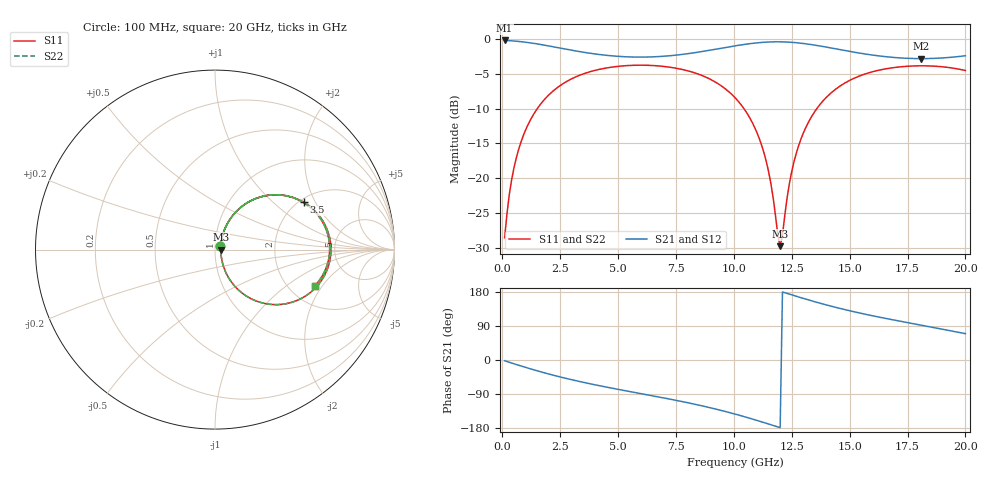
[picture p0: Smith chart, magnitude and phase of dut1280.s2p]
! Touchstone file exported from HFSS 2026.1.0
!  File:  C:/ffzhzh/LocalFiles/Ansys_Project_Files/temp_train_TSV_RDL_1280_1783330470_38704.aedt
!  Generated:  05:48:54 PM Jul  6, 2026
!  Design:  TSV_RDL
!  Project:  temp_train_TSV_RDL_1280_1783330470_38704
! Variables:
!  h_bsmrdl = 4.42um
!  h_ox = 20um
!  h_rdl = 5um
!  h_sub = 86.9um
!  h_tmrdl = 3um
!  h_tsv = 86.9um
!  h_via = 3um
!  l_bsmrdl = 692.74um
!  l_sub = 4905.78um
!  l_tmrdl = 584.03um
!  m_sub = 200um
!  pitch = 56.82um
!  r_tsv = 10.37um
!  s_tmrdl = 10um
!  w_bsmrdl = 12um
!  w_sub = 500um
!  w_tmrdl = 18.48um
!  x_tsv_center1 = 593.27um
!  x_tsv_center2 = 1298.01um
!  x_tsv_center3 = 1900.52um
!  x_tsv_center4 = 2605.26um
!  x_tsv_center5 = 3207.77um
!  x_tsv_center6 = 3912.51um
# GHz S MA R 50.000000
! Terminal data exported
! Port[1] = TM_RDL1_1_T1
! Port[2] = TM_RDL5_1_T1
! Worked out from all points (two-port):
!   200 points, 100 MHz to 20 GHz, reference 50 ohm
!   highest |S21| = -0.26 dB at 100 MHz (marker M1); lowest = -2.9 dB at 18.1 GHz (marker M2)
!   |S21| within 3 dB of the highest: start of sweep to end of sweep
!   lowest |S11| = -29.7 dB at 12 GHz (marker M3), VSWR 1.07, Z = 53.4 + j0.0244 ohm
!   |S11| at or under -10 dB: start of sweep to 1.514 GHz; 10.43 GHz to 13.59 GHz (3.154 GHz wide, 26.3 % of centre)
!   |S22| runs from -29.8 to -3.8 dB; largest |S21 - S12| = 1.7e-14
!   S11 on the Smith chart (normalised r, x): 100 MHz: 1.06, +0.05; 3.5 GHz: 2.10, +1.62; 20 GHz: 2.74, -1.70
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0.1  0.03756 36.9  0.9705 -2.0  0.9705 -2.0  0.03756 36.9
! Gamma 0 0 0 0
! Port Impedance 50 0 50 0
0.3  0.07601 60.4  0.9672 -6.0  0.9672 -6.0  0.07601 60.4
0.5  0.1183 64.6  0.962 -9.9  0.962 -9.9  0.1183 64.6
1.1  0.2403 60.9  0.9383 -21.2  0.9383 -21.2  0.2403 60.9
2.1  0.4089 47.1  0.8809 -38.5  0.8809 -38.5  0.4089 47.1
3.5  0.5596 28.2  0.7996 -59.0  0.7996 -59.0  0.5596 28.2
5.1  0.636 9.5  0.7452 -78.6  0.7452 -78.6  0.636 9.5
6.8  0.6369 -9.1  0.745 -98.1  0.745 -98.1  0.6369 -9.1
8.7  0.5384 -31.7  0.8122 -122.0  0.8122 -122.0  0.5384 -31.7
10.1  0.3707 -50.9  0.8905 -143.5  0.8905 -143.5  0.3707 -51.0
10.8  0.2504 -60.4  0.9251 -155.8  0.9251 -155.8  0.2504 -60.5
11.3  0.1525 -64.6  0.9419 -165.1  0.9419 -165.1  0.1525 -64.7
11.6  0.0919 -61.7  0.9475 -170.8  0.9475 -170.8  0.09179 -61.9
12  0.03277 0.4  0.9489 -178.5  0.9489 -178.5  0.03236 0.3
12.4  0.09208 61.6  0.9434 173.8  0.9434 173.8  0.0919 61.9
12.6  0.1321 64.4  0.9382 170.0  0.9382 170.0  0.132 64.6
13  0.2109 62.6  0.9234 162.6  0.9234 162.6  0.2108 62.7
13.4  0.2844 58.0  0.904 155.4  0.904 155.4  0.2843 58.1
14.8  0.482 38.9  0.8221 132.9  0.8221 132.9  0.4819 39.0
16.7  0.6138 16.0  0.7387 108.0  0.7387 108.0  0.6137 16.0
18.1  0.6392 0.9  0.7196 91.9  0.7196 91.9  0.6392 0.9
20  0.5916 -19.9  0.7542 69.5  0.7542 69.5  0.5916 -19.8
